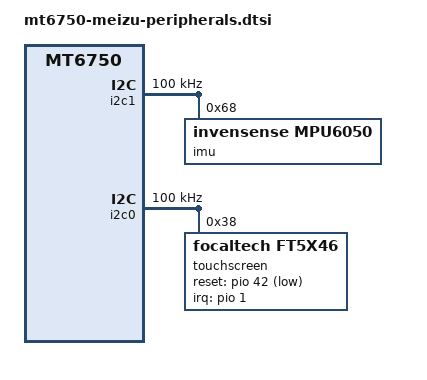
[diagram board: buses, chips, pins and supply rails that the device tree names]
// SPDX-License-Identifier: GPL-2.0-only
/*
 * Meizu MT6750/MT6753 board peripherals shared by M6, M6T, M3s and U10.
 *
 * The stock U10/M6 device tree (mt6750-meizu-m6.dts, see the board comment
 * for the capture) wires these parts to the SoC buses:
 *
 *   i2c0 0x38  FocalTech FT5x26/FT5x46 touch controller, INT GPIO1, RST GPIO42
 *   i2c0 0x3e  TI TPS65132 LCD bias
 *   i2c1 0x68  InvenSense six-axis sensor (ICM206xx family)
 *   i2c1 0x2c  QMC-X983 magnetometer
 *   i2c1 0x49  EPL259X light/proximity
 *   spi0 0     Goodix GF3208 fingerprint sensor (vendor FP HAL over spidev)
 *
 * What the mainline tree can bind:
 *   FTC FT5x46   focaltech_tddi.c  (raw FT5x0x protocol)
 *   ICM206xx     inv-mpu6050 only knows the parts it probes by WHO_AM_I
 *   QMC-X983     no mainline IIO driver
 *   EPL259X      no mainline IIO driver
 *   TPS65132     tps65132-regulator.c
 *
 * The magnetometer and light/proximity parts are kept as disabled nodes: the
 * addresses are stock facts, the drivers do not exist, and binding a driver
 * that speaks a different register map only produces I2C timeouts.  The
 * fingerprint sensor keeps its vendor compatible so no generic driver claims
 * it; the FP HAL talks to /dev/spidev after the SPI0 controller of the board
 * is enabled and its pads are muxed.
 *
 * Included after the SoC dtsi, the binding headers and the board's pinctrl
 * node, from mt6750-meizu-m6.dts, mt6750-meizu-m6t.dts, mt6750-meizu-m3s.dts
 * and mt6750-meizu-u10.dts.
 */

/* I2C1: sensor bus */
&i2c1 {
	pinctrl-names = "default";
	pinctrl-0 = <&i2c1_pins>;
	clock-frequency = <100000>;
	status = "okay";

	/* QMC-X983 magnetometer of the M6 family (stock cust_mag@0, 0x2c). */
	magnetometer@2c {
		compatible = "qst,qmc6303";
		reg = <0x2c>;
		status = "disabled";
	};

	/*
	 * EPL259X light/proximity at 0x49.  No mainline IIO driver knows the
	 * part; the node documents the address for a future driver.
	 */
	light-sensor@49 {
		compatible = "mediatek,epl259x";
		reg = <0x49>;
		status = "disabled";
	};

	/*
	 * InvenSense six-axis part.  The stock cust_accel/@gyro nodes name
	 * the vendor glue ("mpu6515g") without an address; the client nodes
	 * inherit 0x68 from gyro@68.  inv-mpu6050 probes the concrete part
	 * by WHO_AM_I, so the generic mpu6050 compatible is the honest
	 * description.
	 */
	imu@68 {
		compatible = "invensense,mpu6050";
		reg = <0x68>;
	};
};

/*
 * Goodix GF3208 fingerprint sensor on SPI0.  Stock U10/M6 tree: a
 * "goodix,goodix-fp" child of SPI0 with the vendor HAL driving it over
 * spidev.  The controller is left disabled here: the pads (SPI0_MI/MO/CLK/CS)
 * and the INT/RST lines differ per board and none of them is verified for
 * 6.18 yet, and an enabled controller without correct pads only produces
 * timeouts.  The child node documents the wiring for the board that enables
 * the bus.
 */
&spi0 {
	#address-cells = <1>;
	#size-cells = <0>;
	status = "disabled";

	fingerprint@0 {
		compatible = "goodix,goodix-fp";
		reg = <0>;
		spi-max-frequency = <500000>;
		status = "okay";
	};
};

&pio {
	/*
	 * Touch interrupt and reset.  INT on GPIO1 with the internal pull
	 * disabled (stock ctp_pins_eint_as_int: bias-disable), reset on
	 * GPIO42.  input-schmitt-enable is load-bearing on MTK pinctrl:
	 * input-enable alone does not set the pad direction, and the IRQ
	 * core refuses to take a pad that still reads as an output.
	 */
	ctp_pins: ctp-pins {
		pins-int {
			pinmux = <(MTK_PIN_NO(1) | 0)>;
			input-enable;
			input-schmitt-enable;
			bias-disable;
		};
		pins-rst {
			pinmux = <(MTK_PIN_NO(42) | 0)>;
			bias-pull-up;
		};
	};

	/* Touch/display bus pads: SDA0/SCL0 on GPIO92/93, mode 1. */
	i2c0_pins: i2c0-pins {
		pins-bus {
			pinmux = <(MTK_PIN_NO(92) | 1)>,
				 <(MTK_PIN_NO(93) | 1)>;
			input-enable;
			input-schmitt-enable;
			bias-pull-up;
		};
	};

	/*
	 * Sensor bus pads: SDA1/SCL1 on GPIO91/94, mode 1.  The stock FORGE
	 * bring-up enabled the internal pulls because the external ones alone
	 * are too weak for the rise time of this bus.
	 */
	i2c1_pins: i2c1-pins {
		pins-bus {
			pinmux = <(MTK_PIN_NO(91) | 1)>,
				 <(MTK_PIN_NO(94) | 1)>;
			input-enable;
			input-schmitt-enable;
			bias-pull-up;
		};
	};
};

&i2c0 {
	pinctrl-names = "default";
	pinctrl-0 = <&i2c0_pins>;
	clock-frequency = <100000>;
	status = "okay";

	/*
	 * Touch controller on the shared display bus next to the TPS65132.
	 * FT5x46 reports display-space coordinates (720x1280 on the U10/M6
	 * class panels).
	 */
	touchscreen@38 {
		compatible = "focaltech,ft5x46";
		reg = <0x38>;
		interrupt-parent = <&pio>;
		interrupts = <1 IRQ_TYPE_EDGE_FALLING>;
		reset-gpios = <&pio 42 GPIO_ACTIVE_LOW>;
		pinctrl-names = "default";
		pinctrl-0 = <&ctp_pins>;
		touchscreen-size-x = <720>;
		touchscreen-size-y = <1280>;
		focaltech,max-touch-number = <5>;
		status = "okay";
	};
};
